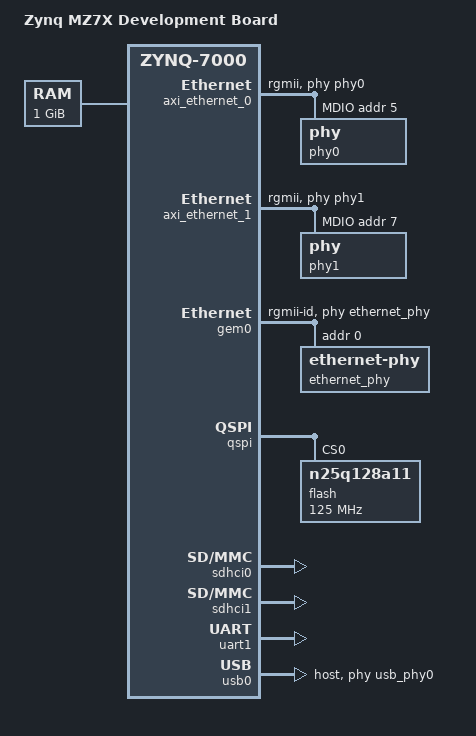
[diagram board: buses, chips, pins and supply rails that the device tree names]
/*
 *  Copyright (C) 2011 - 2014 Xilinx
 *  Copyright (C) 2012 National Instruments Corp.
 *
 * This software is licensed under the terms of the GNU General Public
 * License version 2, as published by the Free Software Foundation, and
 * may be copied, distributed, and modified under those terms.
 *
 * This program is distributed in the hope that it will be useful,
 * but WITHOUT ANY WARRANTY; without even the implied warranty of
 * MERCHANTABILITY or FITNESS FOR A PARTICULAR PURPOSE.  See the
 * GNU General Public License for more details.
 */
/dts-v1/;
/include/ "zynq-7000.dtsi"

/ {
	model = "Zynq MZ7X Development Board";
	compatible = "xlnx,zynq-MZ7X", "xlnx,zynq-7000";

	chosen {
		bootargs = "earlycon"; 
		stdout-path = "serial0:115200n8";
	};

	aliases {
		ethernet0 = &axi_ethernet_0;
		ethernet1 = &axi_ethernet_1;
		ethernet2 = &gem0;
		serial0 = &uart1;
		spi0 = &qspi;
		mmc0 = &sdhci0;
		mmc1 = &sdhci1;
	};

	memory@0 {
		device_type = "memory";
		reg = <0x0 0x40000000>;
	};

	usb_phy0: phy0@e0002000 {
		compatible = "ulpi-phy";
		#phy-cells = <0>;
		reg = <0xe0002000 0x1000>;
		view-port = <0x0170>;
		drv-vbus;
	};
};

/ {
	amba_pl: amba_pl {
		#address-cells = <1>;
		#size-cells = <1>;
		compatible = "simple-bus";
		ranges ;
		axi_dma_0: dma@40400000 {
			#dma-cells = <1>;
			axistream-connected = <&axi_ethernet_0>;
			axistream-control-connected = <&axi_ethernet_0>;
			clock-names = "s_axi_lite_aclk", "m_axi_sg_aclk", "m_axi_mm2s_aclk", "m_axi_s2mm_aclk";
			clocks = <&clkc 15>, <&clkc 15>, <&clkc 15>, <&clkc 15>;
			compatible = "xlnx,eth-dma";
			interrupt-names = "mm2s_introut", "s2mm_introut";
			interrupt-parent = <&intc>;
			interrupts = <0 29 4 0 30 4>;
			reg = <0x40400000 0x10000>;
			xlnx,addrwidth = /bits/ 8 <0x20>;
			xlnx,include-dre ;
			xlnx,num-queues = /bits/ 16 <0x1>;
		};
		axi_ethernet_0: ethernet@41000000 {
			axistream-connected = <&axi_dma_0>;
			axistream-control-connected = <&axi_dma_0>;
			clock-frequency = <100000000>;
			clock-names = "s_axi_lite_clk", "axis_clk", "gtx_clk", "ref_clk";
			clocks = <&clkc 15>, <&clkc 15>, <&clkc 16>, <&clkc 17>;
			compatible = "xlnx,axi-ethernet-7.2", "xlnx,axi-ethernet-1.00.a";
			device_type = "network";
			interrupt-names = "mac_irq", "interrupt";
			interrupt-parent = <&intc>;
			interrupts = <0 31 1 0 32 4>;
			local-mac-address = [00 0a 35 00 00 00];
			phy-mode = "rgmii";
			reg = <0x41000000 0x40000>;
			xlnx = <0x0>;
			xlnx,axiliteclkrate = <0x0>;
			xlnx,axisclkrate = <0x0>;
			xlnx,channel-ids = <0x1>;
			xlnx,clockselection = <0x0>;
			xlnx,enableasyncsgmii = <0x0>;
			xlnx,gt-type = <0x0>;
			xlnx,gtinex = <0x0>;
			xlnx,gtlocation = <0x0>;
			xlnx,gtrefclksrc = <0x0>;
			xlnx,include-dre ;
			xlnx,instantiatebitslice0 = <0x0>;
			xlnx,num-queues = /bits/ 16 <0x1>;
			xlnx,phy-type = <0x8>;
			xlnx,phyaddr = <0x4>;
			xlnx,phyrst-board-interface-dummy-port = <0x0>;
			xlnx,rable = <0x0>;
			xlnx,rxcsum = <0x0>;
			xlnx,rxlane0-placement = <0x0>;
			xlnx,rxlane1-placement = <0x0>;
			xlnx,rxmem = <0x1000>;
			xlnx,rxnibblebitslice0used = <0x0>;
			xlnx,tx-in-upper-nibble = <0x1>;
			xlnx,txcsum = <0x0>;
			xlnx,txlane0-placement = <0x0>;
			xlnx,txlane1-placement = <0x0>;
			xlnx,versal-gt-board-flow = <0x0>;
			phy-handle = <&phy0>;
			axi_ethernet_0_mdio: mdio {
				#address-cells = <1>;
				#size-cells = <0>;
				phy0: phy@5 {
					device_type = "ethernet-phy";
					reg = <0x5>;
				};
			};
		};
		axi_ethernet_1: ethernet@41040000 {
			axistream-connected = <&axi_ethernet_1_dma>;
			axistream-control-connected = <&axi_ethernet_1_dma>;
			clock-frequency = <100000000>;
			clock-names = "s_axi_lite_clk", "axis_clk", "gtx_clk", "gtx_clk90";
			clocks = <&clkc 15>, <&clkc 15>, <&misc_clk_0>, <&misc_clk_0>;
			compatible = "xlnx,axi-ethernet-7.2", "xlnx,axi-ethernet-1.00.a";
			device_type = "network";
			interrupt-names = "mac_irq", "interrupt";
			interrupt-parent = <&intc>;
			interrupts = <0 33 1 0 34 4>;
			local-mac-address = [00 0a 35 00 00 01];
			phy-mode = "rgmii";
			reg = <0x41040000 0x40000>;
			xlnx = <0x0>;
			xlnx,axiliteclkrate = <0x0>;
			xlnx,axisclkrate = <0x0>;
			xlnx,channel-ids = <0x1>;
			xlnx,clockselection = <0x0>;
			xlnx,enableasyncsgmii = <0x0>;
			xlnx,gt-type = <0x0>;
			xlnx,gtinex = <0x0>;
			xlnx,gtlocation = <0x0>;
			xlnx,gtrefclksrc = <0x0>;
			xlnx,include-dre ;
			xlnx,instantiatebitslice0 = <0x0>;
			xlnx,num-queues = /bits/ 16 <0x1>;
			xlnx,phy-type = <0x8>;
			xlnx,phyaddr = <0x1>;
			xlnx,phyrst-board-interface-dummy-port = <0x0>;
			xlnx,rable = <0x0>;
			xlnx,rxcsum = <0x0>;
			xlnx,rxlane0-placement = <0x0>;
			xlnx,rxlane1-placement = <0x0>;
			xlnx,rxmem = <0x1000>;
			xlnx,rxnibblebitslice0used = <0x0>;
			xlnx,tx-in-upper-nibble = <0x1>;
			xlnx,txcsum = <0x0>;
			xlnx,txlane0-placement = <0x0>;
			xlnx,txlane1-placement = <0x0>;
			xlnx,versal-gt-board-flow = <0x0>;
			phy-handle = <&phy1>;
			axi_ethernet_1_mdio: mdio {
				#address-cells = <1>;
				#size-cells = <0>;
				phy1: phy@7 {
					device_type = "ethernet-phy";
					reg = <0x7>;
				};
			};
		};
		misc_clk_0: misc_clk_0 {
			#clock-cells = <0>;
			clock-frequency = <125000000>;
			compatible = "fixed-clock";
		};
		axi_ethernet_1_dma: dma@40410000 {
			#dma-cells = <1>;
			axistream-connected = <&axi_ethernet_1>;
			axistream-control-connected = <&axi_ethernet_1>;
			clock-names = "s_axi_lite_aclk", "m_axi_sg_aclk", "m_axi_mm2s_aclk", "m_axi_s2mm_aclk";
			clocks = <&clkc 15>, <&clkc 15>, <&clkc 15>, <&clkc 15>;
			compatible = "xlnx,eth-dma";
			interrupt-names = "mm2s_introut", "s2mm_introut";
			interrupt-parent = <&intc>;
			interrupts = <0 35 4 0 36 4>;
			reg = <0x40410000 0x10000>;
			xlnx,addrwidth = /bits/ 8 <0x20>;
			xlnx,include-dre ;
			xlnx,num-queues = /bits/ 16 <0x1>;
		};
		axi_vdma_0: dma@43000000 {
			#dma-cells = <1>;
			clock-names = "s_axi_lite_aclk", "m_axi_mm2s_aclk", "m_axis_mm2s_aclk";
			clocks = <&clkc 15>, <&clkc 15>, <&clkc 15>;
			compatible = "xlnx,axi-vdma-6.3", "xlnx,axi-vdma-1.00.a";
			interrupt-names = "mm2s_introut";
			interrupt-parent = <&intc>;
			interrupts = <0 52 4>;
			reg = <0x43000000 0x10000>;
			xlnx,addrwidth = <0x40>;
			xlnx,flush-fsync = <0x1>;
			xlnx,num-fstores = <0x1>;
			dma-channel@43000000 {
				compatible = "xlnx,axi-vdma-mm2s-channel";
				interrupts = <0 52 4>;
				xlnx,datawidth = <0x20>;
				xlnx,device-id = <0x0>;
				xlnx,genlock-mode ;
			};
		};
		axi_vdma_lcd {
			compatible = "topic,vdma-fb";
			dmas = <&axi_vdma_0 0>;
			dma-names = "axivdma";
		};
	};
};

/ {
	cpus {
		cpu@0 {
			operating-points = <666666 1000000 333333 1000000>;
		};
	};
};

&gem0 {
	status = "okay";
	phy-mode = "rgmii-id";
	phy-handle = <&ethernet_phy>;
	xlnx,ptp-enet-clock = <0x69f6bcb>;
	local-mac-address = [00 0a 35 00 00 02];
	ethernet_phy: ethernet-phy@0 {
		reg = <0>;
		device_type = "ethernet-phy";
	};
};

&gpio0 {
	emio-gpio-width = <64>;
	gpio-mask-high = <0x0>;
	gpio-mask-low = <0x5600>;
};

&intc {
	num_cpus = <2>;
	num_interrupts = <96>;
};

&qspi {
	u-boot,dm-pre-reloc;
	status = "okay";
	is-dual = <0>;
	num-cs = <1>;
	flash@0 {
		compatible = "n25q128a11","jedec,spi-nor";
		reg = <0x0>;
		spi-rx-bus-width = <4>;
		spi-tx-bus-width = <4>;
		spi-max-frequency = <125000000>;
	};
};

&sdhci0 {
	u-boot,dm-pre-reloc;
	status = "okay";
	xlnx,has-cd = <0x1>;
	xlnx,has-power = <0x0>;
	xlnx,has-wp = <0x0>;
};

&sdhci1 {
	status = "okay";
	xlnx,has-cd = <0x1>;
	xlnx,has-power = <0x0>;
	xlnx,has-wp = <0x1>;
};

&uart1 {
	cts-override ;
	device_type = "serial";
	port-number = <0>;
	u-boot,dm-pre-reloc;
	status = "okay";
};

&usb0 {
	status = "okay";
	dr_mode = "host";
	phy_type = "ulpi";
	usb-phy = <&usb_phy0>;
};

&axi_ethernet_0 {
	interrupt-names = "mac_irq", "interrupt", "mm2s_introut", "s2mm_introut";
	interrupt-parent = <&intc>;
	interrupts = <0 31 1 0 32 4 0 29 4 0 30 4>;
};
&axi_ethernet_1 {
	interrupt-names = "mac_irq", "interrupt", "mm2s_introut", "s2mm_introut";
	interrupt-parent = <&intc>;
	interrupts = <0 33 1 0 34 4 0 35 4 0 36 4>;
};

&clkc {
	fclk-enable = <0x7>;
	ps-clk-frequency = <33333333>;
};

